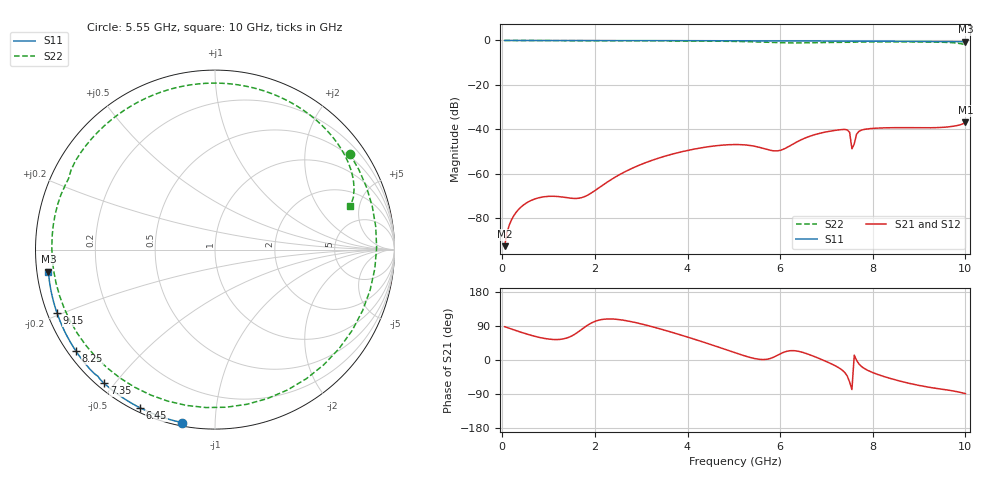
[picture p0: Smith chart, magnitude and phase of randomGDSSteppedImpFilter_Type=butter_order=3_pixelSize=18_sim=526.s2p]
! freq	dB(S11)	phase(S11)	dB(S12)	phase(S12)
!  dB(S21)	phase(S21)	dB(S22)	phase(S22)
!S-par simulation data
#  GHz  S  DB  R 50
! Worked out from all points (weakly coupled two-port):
!   200 points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, 50 MHz to 10 GHz, reference 50 ohm
!   highest |S21| = -36.90 dB at 10 GHz (marker M1); lowest = -92.6 dB at 50 MHz (marker M2)
!   lowest |S11| = -0.6 dB at 10 GHz (marker M3), VSWR 30.45, Z = 1.65 - j3.32 ohm
!   |S11| at or under -10 dB: nowhere
!   |S22| runs from -2.0 to 0.0 dB; largest |S21 - S12| = 0
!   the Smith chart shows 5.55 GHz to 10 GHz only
!   S11 on the Smith chart (normalised r, x): 5.55 GHz: 0.02, -0.83; 6.45 GHz: 0.02, -0.63; 7.35 GHz: 0.02, -0.47; 8.25 GHz: 0.02, -0.33; 9.15 GHz: 0.03, -0.19; 10 GHz: 0.03, -0.07
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0.05  -0.00 -1.0  -92.60 87.9  -92.60 87.9  -0.00 -3.3
0.9  -0.02 -17.6  -70.37 57.1  -70.37 57.1  -0.07 -57.6
1.75  -0.04 -34.0  -70.52 84.0  -70.52 84.0  -0.11 -104.7
2.6  -0.06 -49.9  -59.63 105.3  -59.63 105.3  -0.14 -144.8
3.4  -0.09 -64.4  -52.80 82.4  -52.80 82.4  -0.18 -179.8
4.3  -0.11 -80.1  -48.32 48.9  -48.32 48.9  -0.26 137.0
5.05  -0.14 -92.7  -46.86 18.2  -46.86 18.2  -0.44 87.1
5.55  -0.17 -100.9  -48.10 1.8  -48.10 1.8  -0.72 35.4
5.75  -0.18 -104.2  -49.24 2.8  -49.24 2.8  -0.87 8.2
5.95  -0.19 -107.4  -49.67 12.9  -49.67 12.9  -1.01 -22.5
6.2  -0.20 -111.4  -47.57 24.3  -47.57 24.3  -1.11 -62.7
6.45  -0.22 -115.4  -44.75 21.3  -44.75 21.3  -1.08 -100.4
6.7  -0.23 -119.4  -42.70 11.0  -42.70 11.0  -0.99 -132.4
7  -0.26 -124.1  -41.14 -4.3  -41.14 -4.3  -0.88 -163.6
7.35  -0.29 -129.7  -40.08 -27.7  -40.08 -27.7  -0.80 167.6
7.5  -0.32 -132.1  -41.37 -58.0  -41.37 -58.0  -0.83 157.0
7.55  -0.35 -132.8  -48.74 -78.0  -48.74 -78.0  -0.85 154.1
7.7  -0.32 -135.0  -40.94 -10.2  -40.94 -10.2  -0.70 144.3
8.25  -0.36 -143.8  -39.34 -43.9  -39.34 -43.9  -0.65 112.1
8.35  -0.37 -145.3  -39.29 -47.7  -39.29 -47.7  -0.65 106.7
9.15  -0.46 -158.2  -39.30 -70.6  -39.30 -70.6  -0.70 65.2
10  -0.57 -172.4  -36.90 -88.7  -36.90 -88.7  -2.03 17.7
